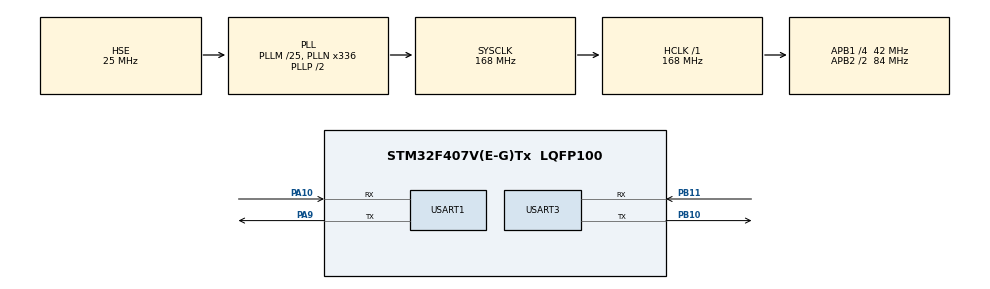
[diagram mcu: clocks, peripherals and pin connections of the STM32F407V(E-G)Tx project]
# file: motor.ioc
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Dma.Request0=USART3_RX
Dma.Request1=USART3_TX
Dma.USART3_RX.0.Direction=DMA_PERIPH_TO_MEMORY
Dma.USART3_RX.0.FIFOMode=DMA_FIFOMODE_DISABLE
Dma.USART3_RX.0.Instance=DMA1_Stream1
Dma.USART3_RX.0.MemDataAlignment=DMA_MDATAALIGN_BYTE
Dma.USART3_RX.0.MemInc=DMA_MINC_ENABLE
Dma.USART3_RX.0.Mode=DMA_NORMAL
Dma.USART3_RX.0.PeriphDataAlignment=DMA_PDATAALIGN_BYTE
Dma.USART3_RX.0.PeriphInc=DMA_PINC_DISABLE
Dma.USART3_RX.0.Priority=DMA_PRIORITY_LOW
Dma.USART3_TX.1.Direction=DMA_MEMORY_TO_PERIPH
Dma.USART3_TX.1.FIFOMode=DMA_FIFOMODE_DISABLE
Dma.USART3_TX.1.Instance=DMA1_Stream3
Dma.USART3_TX.1.MemDataAlignment=DMA_MDATAALIGN_BYTE
Dma.USART3_TX.1.MemInc=DMA_MINC_ENABLE
Dma.USART3_TX.1.Mode=DMA_NORMAL
Dma.USART3_TX.1.PeriphDataAlignment=DMA_PDATAALIGN_BYTE
Dma.USART3_TX.1.PeriphInc=DMA_PINC_DISABLE
Dma.USART3_TX.1.Priority=DMA_PRIORITY_LOW
Mcu.Family=STM32F4
Mcu.Name=STM32F407V(E-G)Tx
Mcu.Package=LQFP100
NVIC.DMA1_Stream1_IRQn=true\:0\:0\:false\:false\:true\:false\:true\:true
NVIC.DMA1_Stream3_IRQn=true\:0\:0\:false\:false\:true\:false\:true\:true
NVIC.PriorityGroup=NVIC_PRIORITYGROUP_4
NVIC.USART3_IRQn=true\:0\:0\:false\:false\:true\:true\:true\:true
PA10.Mode=Asynchronous
PA10.Signal=USART1_RX
PA13.Mode=Serial_Wire
PA13.Signal=SYS_JTMS-SWDIO
PA14.Mode=Serial_Wire
PA14.Signal=SYS_JTCK-SWCLK
PA9.Mode=Asynchronous
PA9.Signal=USART1_TX
PB10.Mode=Asynchronous
PB10.Signal=USART3_TX
PB11.Mode=Asynchronous
PB11.Signal=USART3_RX
PH0-OSC_IN.Mode=HSE-External-Oscillator
PH0-OSC_IN.Signal=RCC_OSC_IN
PH1-OSC_OUT.Mode=HSE-External-Oscillator
PH1-OSC_OUT.Signal=RCC_OSC_OUT
ProjectManager.HeapSize=0x200
ProjectManager.StackSize=0x400
ProjectManager.TargetToolchain=MDK-ARM V5.32
RCC.48MHZClocksFreq_Value=84000000
RCC.AHBFreq_Value=168000000
RCC.APB1CLKDivider=RCC_HCLK_DIV4
RCC.APB1Freq_Value=42000000
RCC.APB1TimFreq_Value=84000000
RCC.APB2CLKDivider=RCC_HCLK_DIV2
RCC.APB2Freq_Value=84000000
RCC.APB2TimFreq_Value=168000000
RCC.CortexFreq_Value=168000000
RCC.HCLKFreq_Value=168000000
RCC.HSE_VALUE=25000000
RCC.HSI_VALUE=16000000
RCC.LSE_VALUE=32768
RCC.PLLM=25
RCC.PLLN=336
RCC.PLLSourceVirtual=RCC_PLLSOURCE_HSE
RCC.SYSCLKFreq_VALUE=168000000
RCC.SYSCLKSource=RCC_SYSCLKSOURCE_PLLCLK
RCC.VCOOutputFreq_Value=336000000
USART1.VirtualMode=VM_ASYNC
USART3.VirtualMode=VM_ASYNC
board=custom

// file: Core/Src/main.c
/* USER CODE BEGIN Header */
/**
  ******************************************************************************
  * @file           : main.c
  * @brief          : Main program body
  ******************************************************************************
  * @attention
  *
  * Copyright (c) 2026 STMicroelectronics.
  * All rights reserved.
  *
  * This software is licensed under terms that can be found in the LICENSE file
  * in the root directory of this software component.
  * If no LICENSE file comes with this software, it is provided AS-IS.
  *
  ******************************************************************************
  */
/* USER CODE END Header */
#include "main.h"

/* USER CODE BEGIN Includes */

#include "motor_control.h"
/* USER CODE END Includes */

UART_HandleTypeDef huart1;
UART_HandleTypeDef huart3;
DMA_HandleTypeDef hdma_usart3_rx;
DMA_HandleTypeDef hdma_usart3_tx;

void SystemClock_Config(void);
static void MX_GPIO_Init(void);
static void MX_DMA_Init(void);
static void MX_USART1_UART_Init(void);
static void MX_USART3_UART_Init(void);

/* USER CODE BEGIN 0 */

/* 速度环PID配置: Kp, Ki, Kd, 积分限幅, 输出限幅(10mA), 优化标志 */
static pid_config_t speed_pid_cfg = INIT_PID_CONFIG(
    10.0f,    /* Kp */
    1.0f,     /* Ki */
    0.0f,     /* Kd */
    3000.0f,  /* 积分限幅 */
    5000.0f,  /* 输出限幅, 即最大电流 5000*10mA=50A */
    PID_Integral_Limit | PID_Trapezoid_Intergral
);
int32_t position = 999;
/* USER CODE END 0 */

int main(void)
{

  /* MCU Configuration--------------------------------------------------------*/

  /* Reset of all peripherals, Initializes the Flash interface and the Systick. */
  HAL_Init();

  /* Configure the system clock */
  SystemClock_Config();

  /* Initialize all configured peripherals */
  MX_GPIO_Init();
  MX_DMA_Init();
  MX_USART1_UART_Init();
  MX_USART3_UART_Init();
  /* USER CODE BEGIN 2 */
  motor_ctrl_init(&speed_pid_cfg);
  motor_ctrl_set_target_rpm(500);  /* 目标转速 500rpm，可按需修改 */
  motor_ctrl_start();
  /* USER CODE END 2 */

  /* Infinite loop */
  while (1)
  {

    /* USER CODE BEGIN 3 */

    motor_modbus_heartbeat_tick(MOTOR_CTRL_MODBUS_TIMEOUT);
    motor_modbus_set_current_control_10ma(500,MOTOR_CTRL_MODBUS_TIMEOUT);
    motor_modbus_read_position(&position, MOTOR_CTRL_MODBUS_TIMEOUT);

    // motor_ctrl_loop();
    HAL_Delay(10U);

  }
  /* USER CODE END 3 */
}

void SystemClock_Config(void)
{
  RCC_OscInitTypeDef RCC_OscInitStruct = {0};
  RCC_ClkInitTypeDef RCC_ClkInitStruct = {0};

  /** Configure the main internal regulator output voltage
  */
  __HAL_RCC_PWR_CLK_ENABLE();
  __HAL_PWR_VOLTAGESCALING_CONFIG(PWR_REGULATOR_VOLTAGE_SCALE1);

  /** Initializes the RCC Oscillators according to the specified parameters
  * in the RCC_OscInitTypeDef structure.
  */
  RCC_OscInitStruct.OscillatorType = RCC_OSCILLATORTYPE_HSE;
  RCC_OscInitStruct.HSEState = RCC_HSE_ON;
  RCC_OscInitStruct.PLL.PLLState = RCC_PLL_ON;
  RCC_OscInitStruct.PLL.PLLSource = RCC_PLLSOURCE_HSE;
  RCC_OscInitStruct.PLL.PLLM = 25;
  RCC_OscInitStruct.PLL.PLLN = 336;
  RCC_OscInitStruct.PLL.PLLP = RCC_PLLP_DIV2;
  RCC_OscInitStruct.PLL.PLLQ = 4;
  if (HAL_RCC_OscConfig(&RCC_OscInitStruct) != HAL_OK)
  {
    Error_Handler();
  }

  /** Initializes the CPU, AHB and APB buses clocks
  */
  RCC_ClkInitStruct.ClockType = RCC_CLOCKTYPE_HCLK|RCC_CLOCKTYPE_SYSCLK
                              |RCC_CLOCKTYPE_PCLK1|RCC_CLOCKTYPE_PCLK2;
  RCC_ClkInitStruct.SYSCLKSource = RCC_SYSCLKSOURCE_PLLCLK;
  RCC_ClkInitStruct.AHBCLKDivider = RCC_SYSCLK_DIV1;
  RCC_ClkInitStruct.APB1CLKDivider = RCC_HCLK_DIV4;
  RCC_ClkInitStruct.APB2CLKDivider = RCC_HCLK_DIV2;

  if (HAL_RCC_ClockConfig(&RCC_ClkInitStruct, FLASH_LATENCY_5) != HAL_OK)
  {
    Error_Handler();
  }
}

static void MX_USART1_UART_Init(void)
{

  huart1.Instance = USART1;
  huart1.Init.BaudRate = 115200;
  huart1.Init.WordLength = UART_WORDLENGTH_8B;
  huart1.Init.StopBits = UART_STOPBITS_1;
  huart1.Init.Parity = UART_PARITY_NONE;
  huart1.Init.Mode = UART_MODE_TX_RX;
  huart1.Init.HwFlowCtl = UART_HWCONTROL_NONE;
  huart1.Init.OverSampling = UART_OVERSAMPLING_16;
  if (HAL_UART_Init(&huart1) != HAL_OK)
  {
    Error_Handler();
  }

}

static void MX_USART3_UART_Init(void)
{

  huart3.Instance = USART3;
  huart3.Init.BaudRate = 115200;
  huart3.Init.WordLength = UART_WORDLENGTH_8B;
  huart3.Init.StopBits = UART_STOPBITS_1;
  huart3.Init.Parity = UART_PARITY_NONE;
  huart3.Init.Mode = UART_MODE_TX_RX;
  huart3.Init.HwFlowCtl = UART_HWCONTROL_NONE;
  huart3.Init.OverSampling = UART_OVERSAMPLING_16;
  if (HAL_UART_Init(&huart3) != HAL_OK)
  {
    Error_Handler();
  }

}

static void MX_DMA_Init(void)
{

  /* DMA controller clock enable */
  __HAL_RCC_DMA1_CLK_ENABLE();

  /* DMA interrupt init */
  /* DMA1_Stream1_IRQn interrupt configuration */
  HAL_NVIC_SetPriority(DMA1_Stream1_IRQn, 0, 0);
  HAL_NVIC_EnableIRQ(DMA1_Stream1_IRQn);
  /* DMA1_Stream3_IRQn interrupt configuration */
  HAL_NVIC_SetPriority(DMA1_Stream3_IRQn, 0, 0);
  HAL_NVIC_EnableIRQ(DMA1_Stream3_IRQn);

}

static void MX_GPIO_Init(void)
{

  /* GPIO Ports Clock Enable */
  __HAL_RCC_GPIOH_CLK_ENABLE();
  __HAL_RCC_GPIOB_CLK_ENABLE();
  __HAL_RCC_GPIOA_CLK_ENABLE();

}

void Error_Handler(void)
{
  __disable_irq();
  while (1)
  {
  }
}
